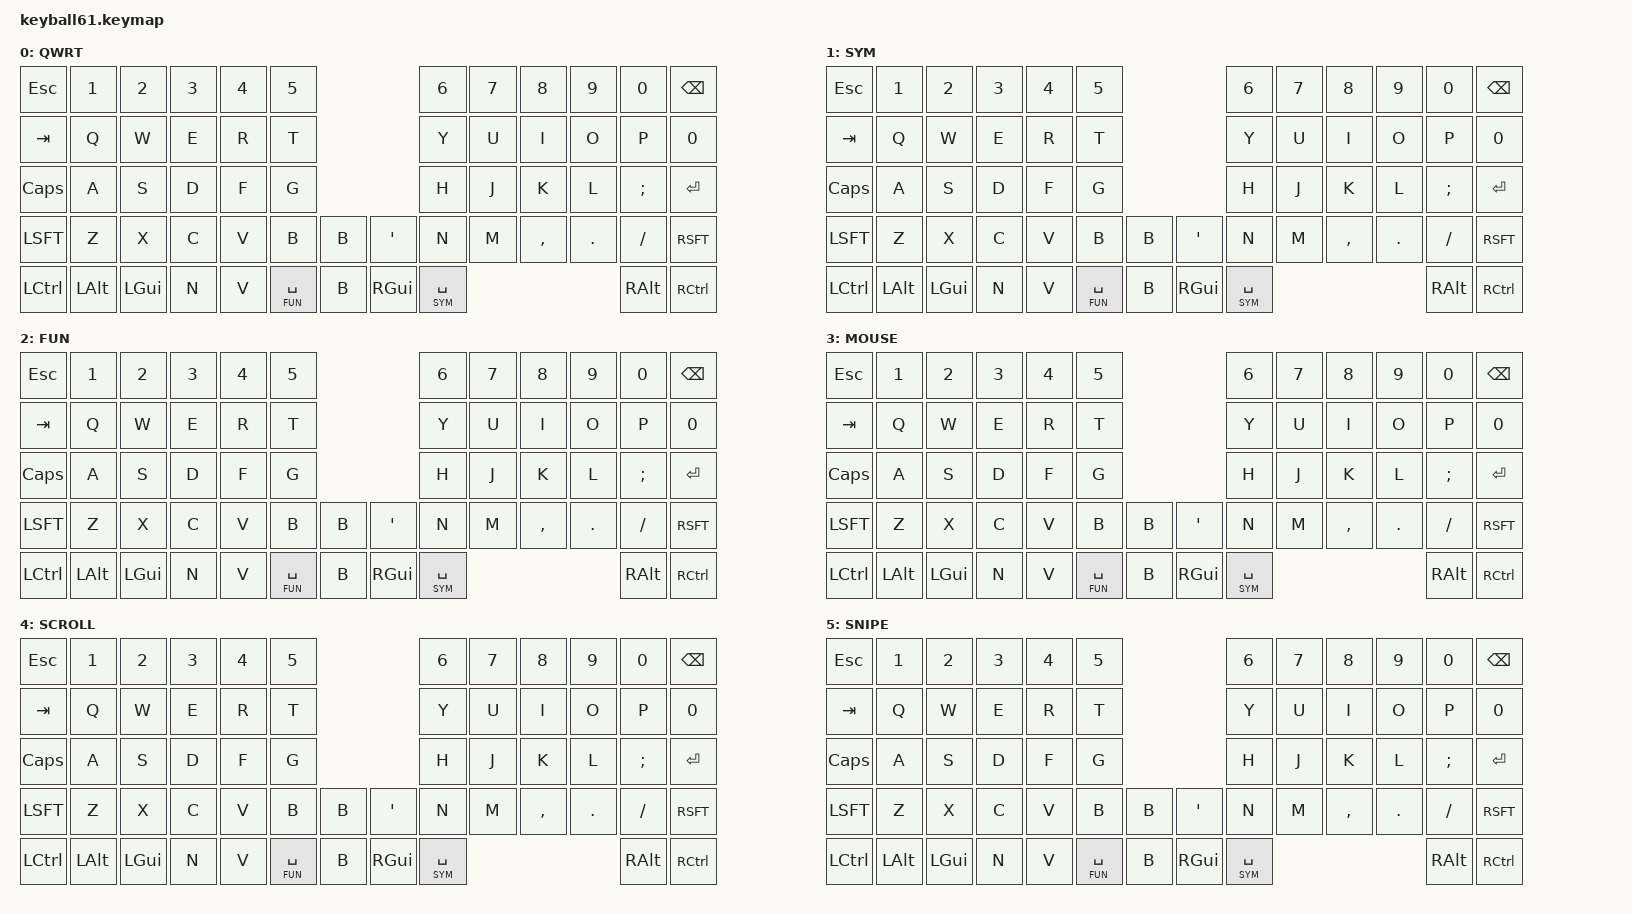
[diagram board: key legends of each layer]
#define DEFAULT 0
#define SYM     1
#define FUN     2
#define MOUSE   3
#define SCROLL  4
#define SNIPE   5

#include <behaviors.dtsi>
#include <behaviors/mouse_keys.dtsi>
#include <dt-bindings/zmk/mouse.h>
#include <dt-bindings/zmk/keys.h>
#include <dt-bindings/zmk/bt.h>
#include <dt-bindings/zmk/outputs.h>

&lt {
    tapping-term-ms = <240>;
    flavor = "balanced";
    quick-tap-ms = <150>;
};

&mt {
    tapping-term-ms = <200>;
    flavor = "tap-preferred";
    quick-tap-ms = <150>;
};

/ {

    keymap {
        compatible = "zmk,keymap";

        default_layer {
            label = "QWRT";
            bindings = <
                &kp ESC     &kp N1      &kp N2          &kp N3          &kp N4          &kp N5                           &kp N6          &kp N7    &kp N8      &kp N9    &kp N0       &kp BSPC
                &kp TAB     &kp Q       &kp W           &kp E           &kp R           &kp T                            &kp Y           &kp U     &kp I       &kp O     &kp P        &kp N0
                &kp CAPS    &kp A       &kp S           &kp D           &kp F           &kp G                            &kp H           &kp J     &kp K       &kp L     &kp SEMI &kp RET
                &kp LSFT    &kp Z       &kp X           &kp C           &kp V           &kp B          &kp B    &kp SQT  &kp N           &kp M     &kp COMMA   &kp DOT   &kp FSLH     &kp RSFT
                &kp LCTL    &kp LALT    &kp LGUI        &kp N           &kp V           &lt FUN SPACE  &kp B    &kp RGUI &lt SYM SPACE                                   &kp RALT     &kp RCTL
            >;
        };

        symbol_layer {
            label = "SYM";
            bindings = <
                &kp ESC     &kp N1      &kp N2          &kp N3          &kp N4          &kp N5                           &kp N6          &kp N7    &kp N8      &kp N9    &kp N0       &kp BSPC
                &kp TAB     &kp Q       &kp W           &kp E           &kp R           &kp T                            &kp Y           &kp U     &kp I       &kp O     &kp P        &kp N0
                &kp CAPS    &kp A       &kp S           &kp D           &kp F           &kp G                            &kp H           &kp J     &kp K       &kp L     &kp SEMI &kp RET
                &kp LSFT    &kp Z       &kp X           &kp C           &kp V           &kp B          &kp B    &kp SQT  &kp N           &kp M     &kp COMMA   &kp DOT   &kp FSLH     &kp RSFT
                &kp LCTL    &kp LALT    &kp LGUI        &kp N           &kp V           &lt FUN SPACE  &kp B    &kp RGUI &lt SYM SPACE                                   &kp RALT     &kp RCTL
            >;
        };

        function_layer {
            label = "FUN";
            bindings = <
                &kp ESC     &kp N1      &kp N2          &kp N3          &kp N4          &kp N5                           &kp N6          &kp N7    &kp N8      &kp N9    &kp N0       &kp BSPC
                &kp TAB     &kp Q       &kp W           &kp E           &kp R           &kp T                            &kp Y           &kp U     &kp I       &kp O     &kp P        &kp N0
                &kp CAPS    &kp A       &kp S           &kp D           &kp F           &kp G                            &kp H           &kp J     &kp K       &kp L     &kp SEMI &kp RET
                &kp LSFT    &kp Z       &kp X           &kp C           &kp V           &kp B          &kp B    &kp SQT  &kp N           &kp M     &kp COMMA   &kp DOT   &kp FSLH     &kp RSFT
                &kp LCTL    &kp LALT    &kp LGUI        &kp N           &kp V           &lt FUN SPACE  &kp B    &kp RGUI &lt SYM SPACE                                   &kp RALT     &kp RCTL
            >;
        };

        mouse_layer {
            label = "MOUSE";
            bindings = <
                &kp ESC     &kp N1      &kp N2          &kp N3          &kp N4          &kp N5                           &kp N6          &kp N7    &kp N8      &kp N9    &kp N0       &kp BSPC
                &kp TAB     &kp Q       &kp W           &kp E           &kp R           &kp T                            &kp Y           &kp U     &kp I       &kp O     &kp P        &kp N0
                &kp CAPS    &kp A       &kp S           &kp D           &kp F           &kp G                            &kp H           &kp J     &kp K       &kp L     &kp SEMI &kp RET
                &kp LSFT    &kp Z       &kp X           &kp C           &kp V           &kp B          &kp B    &kp SQT  &kp N           &kp M     &kp COMMA   &kp DOT   &kp FSLH     &kp RSFT
                &kp LCTL    &kp LALT    &kp LGUI        &kp N           &kp V           &lt FUN SPACE  &kp B    &kp RGUI &lt SYM SPACE                                   &kp RALT     &kp RCTL
            >;
        };

        scroll_layer {
            label = "SCROLL";
            bindings = <
                &kp ESC     &kp N1      &kp N2          &kp N3          &kp N4          &kp N5                           &kp N6          &kp N7    &kp N8      &kp N9    &kp N0       &kp BSPC
                &kp TAB     &kp Q       &kp W           &kp E           &kp R           &kp T                            &kp Y           &kp U     &kp I       &kp O     &kp P        &kp N0
                &kp CAPS    &kp A       &kp S           &kp D           &kp F           &kp G                            &kp H           &kp J     &kp K       &kp L     &kp SEMI &kp RET
                &kp LSFT    &kp Z       &kp X           &kp C           &kp V           &kp B          &kp B    &kp SQT  &kp N           &kp M     &kp COMMA   &kp DOT   &kp FSLH     &kp RSFT
                &kp LCTL    &kp LALT    &kp LGUI        &kp N           &kp V           &lt FUN SPACE  &kp B    &kp RGUI &lt SYM SPACE                                   &kp RALT     &kp RCTL
            >;
        };

        snipe_layer {
            label = "SNIPE";
            bindings = <
                &kp ESC     &kp N1      &kp N2          &kp N3          &kp N4          &kp N5                           &kp N6          &kp N7    &kp N8      &kp N9    &kp N0       &kp BSPC
                &kp TAB     &kp Q       &kp W           &kp E           &kp R           &kp T                            &kp Y           &kp U     &kp I       &kp O     &kp P        &kp N0
                &kp CAPS    &kp A       &kp S           &kp D           &kp F           &kp G                            &kp H           &kp J     &kp K       &kp L     &kp SEMI &kp RET
                &kp LSFT    &kp Z       &kp X           &kp C           &kp V           &kp B          &kp B    &kp SQT  &kp N           &kp M     &kp COMMA   &kp DOT   &kp FSLH     &kp RSFT
                &kp LCTL    &kp LALT    &kp LGUI        &kp N           &kp V           &lt FUN SPACE  &kp B    &kp RGUI &lt SYM SPACE                                   &kp RALT     &kp RCTL
            >;
        };
    };
};
